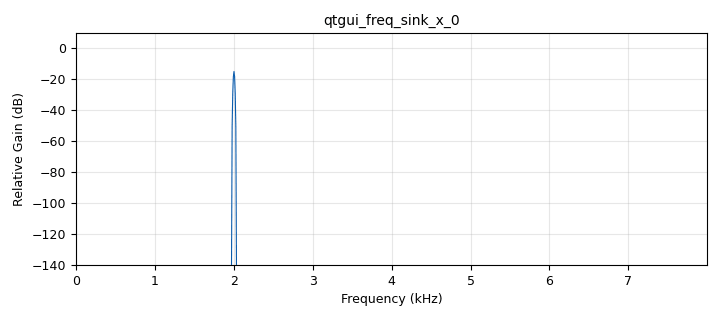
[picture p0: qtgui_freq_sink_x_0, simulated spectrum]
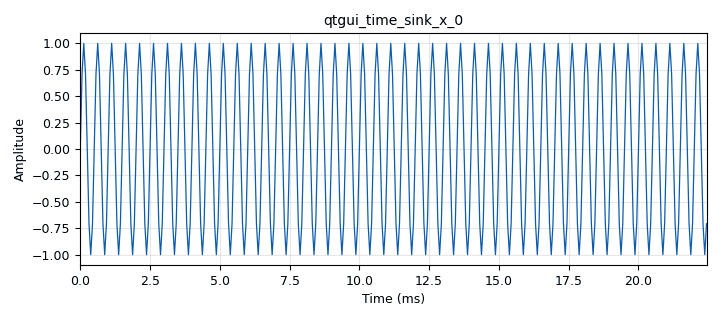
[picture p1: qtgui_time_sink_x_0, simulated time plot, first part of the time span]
options:
  parameters:
    author: jtear
    generate_options: qt_gui
    id: ex2_nyquist
    output_language: python
    title: Nyquist Theorem
  states: {}

blocks:
- name: freq
  id: variable_qtgui_range
  parameters:
    label: Frequency
    rangeType: int
    start: '1000'
    step: '1000'
    stop: '20000'
    value: '2000'
  states: {}
- name: samp_rate
  id: variable_qtgui_range
  parameters:
    label: Sample Rate
    start: '1000'
    step: '100'
    stop: '20000'
    value: '16000'
  states: {}
- name: analog_sig_source_x_0
  id: analog_sig_source_x
  parameters:
    amp: '1'
    freq: freq
    offset: '0'
    phase: '0'
    samp_rate: samp_rate
    type: float
    waveform: analog.GR_SIN_WAVE
  states: {}
- name: blocks_throttle2_0
  id: blocks_throttle2
  parameters:
    samples_per_second: samp_rate
    type: float
  states: {}
- name: qtgui_freq_sink_x_0
  id: qtgui_freq_sink_x
  parameters:
    bw: samp_rate
    fc: '0'
    fftsize: '2048'
    freqhalf: 'False'
    grid: 'True'
    type: float
  states: {}
- name: qtgui_time_sink_x_0
  id: qtgui_time_sink_x
  parameters:
    autoscale: 'True'
    grid: 'True'
    size: '2048'
    srate: samp_rate
    type: float
  states: {}

connections:
- [analog_sig_source_x_0, '0', blocks_throttle2_0, '0']
- [blocks_throttle2_0, '0', qtgui_freq_sink_x_0, '0']
- [blocks_throttle2_0, '0', qtgui_time_sink_x_0, '0']

metadata:
  file_format: 1
  grc_version: 3.10.9.2
